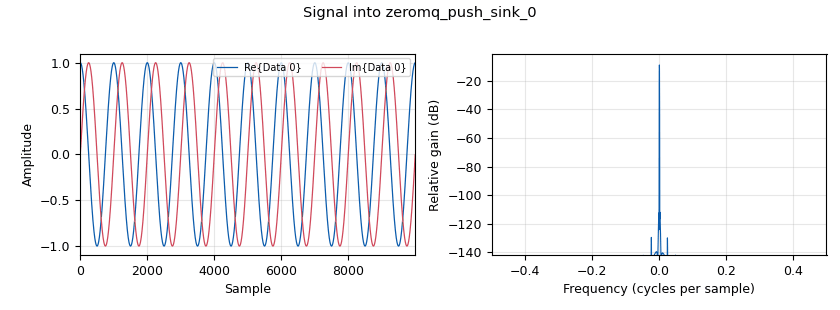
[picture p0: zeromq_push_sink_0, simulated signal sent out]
options:
  parameters:
    author: sdr
    generate_options: qt_gui
    id: HOST_simple_zmq_test
    output_language: python
    title: Not titled yet
  states: {}

blocks:
- name: awgn_amp
  id: variable_qtgui_range
  parameters:
    label: AWGN Gain
    start: '0'
    step: '0.001'
    stop: '1'
    value: '0'
  states: {}
- name: freq
  id: variable_qtgui_range
  parameters:
    label: Frequency
    start: '1000'
    step: '100'
    stop: samp_rate/4
    value: '1000'
  states: {}
- name: samp_rate
  id: variable
  parameters:
    value: 1e6
  states: {}
- name: analog_noise_source_x_0
  id: analog_noise_source_x
  parameters:
    amp: awgn_amp
    noise_type: analog.GR_GAUSSIAN
    seed: '0'
    type: complex
  states: {}
- name: analog_sig_source_x_0
  id: analog_sig_source_x
  parameters:
    amp: '1'
    freq: freq
    offset: '0'
    phase: '0'
    samp_rate: samp_rate
    type: complex
    waveform: analog.GR_COS_WAVE
  states: {}
- name: blocks_add_xx_0
  id: blocks_add_xx
  parameters:
    type: complex
  states: {}
- name: blocks_throttle_0
  id: blocks_throttle
  parameters:
    samples_per_second: samp_rate
    type: complex
  states: {}
- name: qtgui_time_sink_x_0
  id: qtgui_time_sink_x
  parameters:
    ctrlpanel: 'True'
    grid: 'True'
    nconnections: '2'
    size: '2046'
    srate: samp_rate
    type: complex
    ymax: '10'
    ymin: '-10'
  states: {}
- name: zeromq_pull_source_0
  id: zeromq_pull_source
  parameters:
    address: tcp://192.168.1.119:20000
    timeout: '1000'
    type: complex
  states: {}
- name: zeromq_push_sink_0
  id: zeromq_push_sink
  parameters:
    address: tcp://192.168.1.135:10000
    timeout: '1000'
    type: complex
  states: {}

connections:
- [analog_noise_source_x_0, '0', blocks_add_xx_0, '1']
- [analog_sig_source_x_0, '0', blocks_add_xx_0, '0']
- [blocks_add_xx_0, '0', blocks_throttle_0, '0']
- [blocks_throttle_0, '0', qtgui_time_sink_x_0, '0']
- [blocks_throttle_0, '0', zeromq_push_sink_0, '0']
- [zeromq_pull_source_0, '0', qtgui_time_sink_x_0, '1']

metadata:
  file_format: 1
